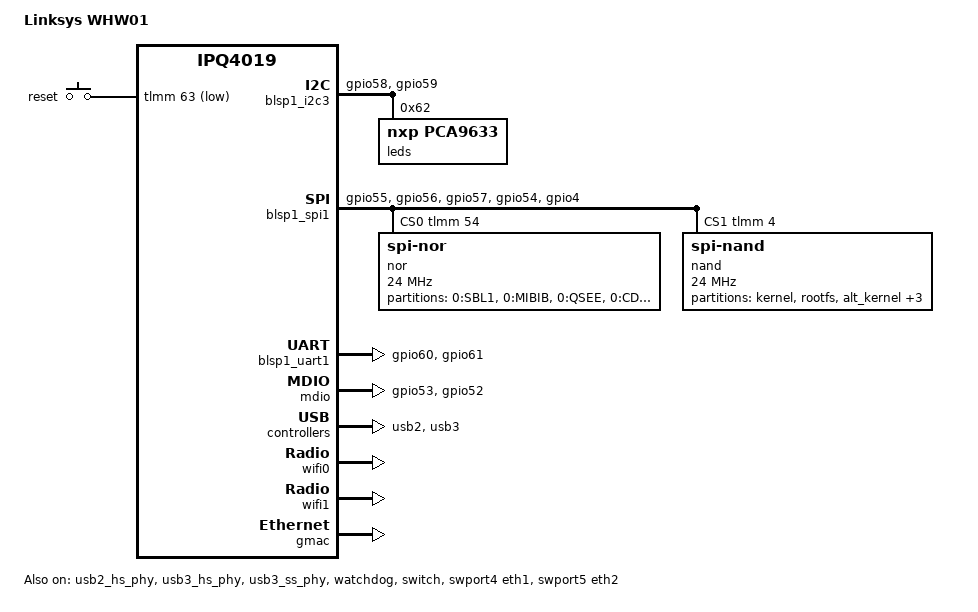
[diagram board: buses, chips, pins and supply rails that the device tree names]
// SPDX-License-Identifier: GPL-2.0-or-later OR MIT

#include "qcom-ipq4019.dtsi"
#include <dt-bindings/leds/common.h>
#include <dt-bindings/gpio/gpio.h>
#include <dt-bindings/input/input.h>

/ {
	model = "Linksys WHW01";
	compatible = "linksys,whw01";

	aliases {
		ethernet0 = &gmac;
		serial0 = &blsp1_uart1;
		led-boot = &led_system_blue;
		led-failsafe = &led_system_red;
		led-running = &led_system_blue;
		led-upgrade = &led_system_red;
		label-mac-device = &gmac;
	};

	chosen {
		stdout-path = "serial0:115200n8";
		bootargs-append = " root=/dev/ubiblock0_0";
	};

	soc {
		keys {
			compatible = "gpio-keys";

			reset {
				label = "reset";
				gpios = <&tlmm 63 GPIO_ACTIVE_LOW>;
				linux,code = <KEY_RESTART>;
			};
		};

		ess_tcsr@1953000 {
			status = "okay";
		};
	};
};

&blsp_dma {
	status = "okay";
};

&blsp1_i2c3 {
	status = "okay";
	pinctrl-0 = <&i2c_0_pins>;
	pinctrl-1 = <&i2c_0_pins>;
	pinctrl-names = "i2c_active", "i2c_sleep";

	leds@62 {
		compatible = "nxp,pca9633";
		#address-cells = <1>;
		#size-cells = <0>;
		reg = <0x62>;

		/* RGB? */
		led_system_red: led@0 {
			reg = <0>;
			color = <LED_COLOR_ID_RED>;
			function = LED_FUNCTION_POWER;
		};

		led@1 {
			reg = <1>;
			color = <LED_COLOR_ID_GREEN>;
			function = LED_FUNCTION_POWER;
		};

		led_system_blue: led@2 {
			reg = <2>;
			color = <LED_COLOR_ID_BLUE>;
			function = LED_FUNCTION_POWER;
			linux,default-trigger = "default-on";
		};
	};
};

&blsp1_spi1 {
	status = "okay";
	pinctrl-0 = <&spi_0_pins>;
	pinctrl-names = "default";
	cs-gpios = <&tlmm 54 GPIO_ACTIVE_HIGH>, <&tlmm 4 GPIO_ACTIVE_HIGH>;

	nor@0 {
		reg = <0>;
		compatible = "jedec,spi-nor";
		spi-max-frequency = <24000000>;

		partitions {
			compatible = "fixed-partitions";
			#address-cells = <1>;
			#size-cells = <1>;

			partition@0 {
				label = "0:SBL1";
				reg = <0x0 0x40000>;
				read-only;
			};

			partition@40000 {
				label = "0:MIBIB";
				reg = <0x40000 0x20000>;
				read-only;
			};

			partition@60000 {
				label = "0:QSEE";
				reg = <0x60000 0x60000>;
				read-only;
			};

			partition@c0000 {
				label = "0:CDT";
				reg = <0xc0000 0x10000>;
				read-only;
			};

			partition@d0000 {
				label = "APPSBL";
				reg = <0xd0000 0xa0000>;
				read-only;
			};

			partition@170000 {
				label = "0:ART";
				reg = <0x170000 0x10000>;
				read-only;

				nvmem-layout {
					compatible = "fixed-layout";
					#address-cells = <1>;
					#size-cells = <1>;

					precal_art_1000: precal@1000 {
						reg = <0x1000 0x2f20>;
					};

					precal_art_5000: precal@5000 {
						reg = <0x5000 0x2f20>;
					};
				};
			};

			partition@180000 {
				label = "u_env";
				reg = <0x180000 0x40000>;
			};

			partition@1c0000 {
				label = "s_env";
				reg = <0x1c0000 0x20000>;
			};

			partition@1e0000 {
				label = "devinfo";
				reg = <0x1e0000 0x20000>;
				read-only;
			};
		};
	};

	nand@1 {
		reg = <1>;
		compatible = "spi-nand";
		spi-max-frequency = <24000000>;

		partitions {
			compatible = "fixed-partitions";
			#address-cells = <1>;
			#size-cells = <1>;

			partition@0 {
				label = "kernel";
				reg = <0x0000000 0x5000000>;
			};

			partition@600000 {
				label = "rootfs";
				reg = <0x0600000 0x4a00000>;
			};

			partition@5000000 {
				label = "alt_kernel";
				reg = <0x5000000 0x5000000>;
			};

			partition@5600000 {
				label = "alt_rootfs";
				reg = <0x5600000 0x4a00000>;
			};

			partition@a000000 {
				label = "sysdiag";
				reg = <0xa000000 0x0200000>;
				read-only;
			};

			partition@a200000 {
				label = "syscfg";
				reg = <0xa200000 0x5e00000>;
				read-only;
			};
		};
	};
};

&blsp1_uart1 {
	pinctrl-0 = <&serial_pins>;
	pinctrl-names = "default";
	status = "okay";
};

&mdio {
	status = "okay";
	pinctrl-0 = <&mdio_pins>;
	pinctrl-names = "default";
	phy-reset-gpio = <&tlmm 62 GPIO_ACTIVE_HIGH>;
};

&tlmm {
	mdio_pins: mdio_pinmux {
		mux_mdio {
			pins = "gpio53";
			function = "mdio";
			bias-pull-up;
		};

		mux_mdc {
			pins = "gpio52";
			function = "mdc";
			bias-pull-up;
		};
	};

	serial_pins: serial_pinmux {
		mux {
			pins = "gpio60", "gpio61";
			function = "blsp_uart0";
			bias-disable;
		};
	};

	spi_0_pins: spi_0_pinmux {
		pinmux {
			function = "blsp_spi0";
			pins = "gpio55", "gpio56", "gpio57";
		};

		pinmux_cs {
			function = "gpio";
			pins = "gpio54", "gpio4";
		};

		pinconf {
			pins = "gpio55", "gpio56", "gpio57";
			drive-strength = <12>;
			bias-disable;
		};

		pinconf_cs {
			pins = "gpio54", "gpio4";
			drive-strength = <2>;
			bias-disable;
			output-high;
		};
	};

	i2c_0_pins: i2c_0_pinmux {
		mux {
			function = "blsp_i2c0";
			pins = "gpio58", "gpio59";
			bias-disable;
		};
	};

	reset_pinmux {
		mux {
			pins = "gpio63";
			bias-pull-up;
		};
	};
};

&usb2 {
	status = "okay";
};

&usb2_hs_phy {
	status = "okay";
};

&usb3 {
	status = "okay";
};

&usb3_hs_phy {
	status = "okay";
};

&usb3_ss_phy {
	status = "okay";
};

&watchdog {
	status = "okay";
};

&wifi0 {
	status = "okay";
	qcom,ath10k-calibration-variant = "linksys-whw01-v1";
	nvmem-cell-names = "pre-calibration";
	nvmem-cells = <&precal_art_1000>;
};

&wifi1 {
	status = "okay";
	qcom,ath10k-calibration-variant = "linksys-whw01-v1";
	nvmem-cell-names = "pre-calibration";
	nvmem-cells = <&precal_art_5000>;
};

&gmac {
	status = "okay";
};

&switch {
	status = "okay";
};

&swport4 {
	status = "okay";
	label = "eth1";
};

&swport5 {
	status = "okay";
	label = "eth2";
};
